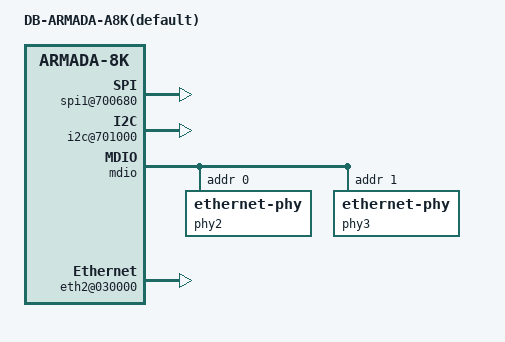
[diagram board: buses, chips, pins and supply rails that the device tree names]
/*
 * ***************************************************************************
 * Copyright (C) 2016 Marvell International Ltd.
 * ***************************************************************************
 * This program is free software: you can redistribute it and/or modify it
 * under the terms of the GNU General Public License as published by the Free
 * Software Foundation, either version 2 of the License, or any later version.
 *
 * This program is distributed in the hope that it will be useful,
 * but WITHOUT ANY WARRANTY; without even the implied warranty of
 * MERCHANTABILITY or FITNESS FOR A PARTICULAR PURPOSE.  See the
 * GNU General Public License for more details.
 *
 * You should have received a copy of the GNU General Public License
 * along with this program.  If not, see <http://www.gnu.org/licenses/>.
 * ***************************************************************************
 */

/dts-v1/;

#include "armada-70x0.dtsi" /* include SoC device tree */
#include "armada-70x0-dev-info.dtsi" /* include Marvell specific info (S@R, MPP cmd) */
#include <dt-bindings/multi-fdt/a8k/multi-fdt.h>
/ {
	model = "DB-ARMADA-A8K(default)";
	compatible = "marvell,armada-8k-7k";
	fdt_config_id = <A8K_A7K_default>;
	board_id = <A8K_A7K_DEFAULT_BOARD_ID>;

	ap-806 {
		internal-regs {
			spi0: spi@510600 {
				status = "disabled";
			};
			i2c0: i2c@511000 {
				status = "disabled";
			};
			pinctl: pinctl@6F4000 {
					/* MPP Bus:
						UART0 [11,19]
					*/
					  /* 0 1 2 3 4 5 6 7 8 9 */
				pin-func = < 0 0 0 0 0 0 0 0 0 0
					     0 3 0 0 0 0 0 0 0 3>;
			};
			mmc0: mmc@6E0000 {
				status = "disabled";
			};
		};
	};
	cp110-master {
		internal-regs {
			spi0@700600 {
				status = "disabled";
			};
			spi1@700680 {
				status = "okay";
			};
			i2c@701000 {
				status = "okay";
			};
			i2c@211000 { /* MSS_i2c0 */
				status = "disabled";
			};
			i2c@211100 { /* MSS_i2c1 */
				status = "disabled";
			};
			usb3@500000 {
				status = "disabled";
			};
			usb3@510000 {
				status = "disabled";
			};
			sata@540000 {
				status = "disabled";
			};
			mmc@780000 {
				status = "disabled";
			};
			pcie-controller {
				pcie@0,0 {
					status = "disabled";
				};
				pcie@1,0 {
					status = "disabled";
				};
				pcie@2,0 {
					status = "disabled";
				};
			};
			nand@720000 {
				status = "disabled";
			};

			pinctl@440000 {
					/* PP Bus:
					   SPI   [13-16]
					   UART0 [29-30]
					   I2C	 [37-38]
					   RGMII1[44-55]
					*/
					/*   0   1   2   3   4   5   6   7   8   9 */
				pin-func = < 0   0   0   0   0   0   0   0   0   0
					     0   0   0   3   3   3   3   0   0   0
					     0   0   0   0   0   0   0   0   0   0xA
					     0xA 0   0   0   0   0   0   2   2   0
					     0   0   0   0   1   1   1   1   1   1
					     1   1   1   1   1   1   0   0   0   0
					     0   0   0>;
			};

			comphy {
				/* Serdes Configuration:
					Lanes 0-5: UNCONNECTED
				*/

				phy0 {
					phy-type = <PHY_TYPE_UNCONNECTED>;
				};
				phy1 {
					phy-type = <PHY_TYPE_UNCONNECTED>;
				};
				phy2 {
					phy-type = <PHY_TYPE_UNCONNECTED>;
				};
				phy3 {
					phy-type = <PHY_TYPE_UNCONNECTED>;
				};
				phy4 {
					phy-type = <PHY_TYPE_UNCONNECTED>;
				};
				phy5 {
					phy-type = <PHY_TYPE_UNCONNECTED>;
				};
			};
			mdio {
				#address-cells = <1>;
				#size-cells = <0>;
				phy2: ethernet-phy@2 {
					reg = <0>;
				};
				phy3: ethernet-phy@3 {
					reg = <1>;
				};
			};
			gop {
				mac0 {
					phy-mode = "NONE"; /* lane-2 */
				};
				mac2 {
					phy-mode = "NONE"; /* lane-0 */
					phy = <&phy2>;
				};
				mac3 {
					phy-mode = "rgmii"; /* rgmii-1 */
					phy = <&phy3>;
				};
			};
			ppv22@000000 {
				eth0@010000 {
					status = "disabled";
				};
				eth1@020000 {
					status = "disabled";
				};
				eth2@030000 {
					status = "okay";
				};
			};
		};
	};
};
